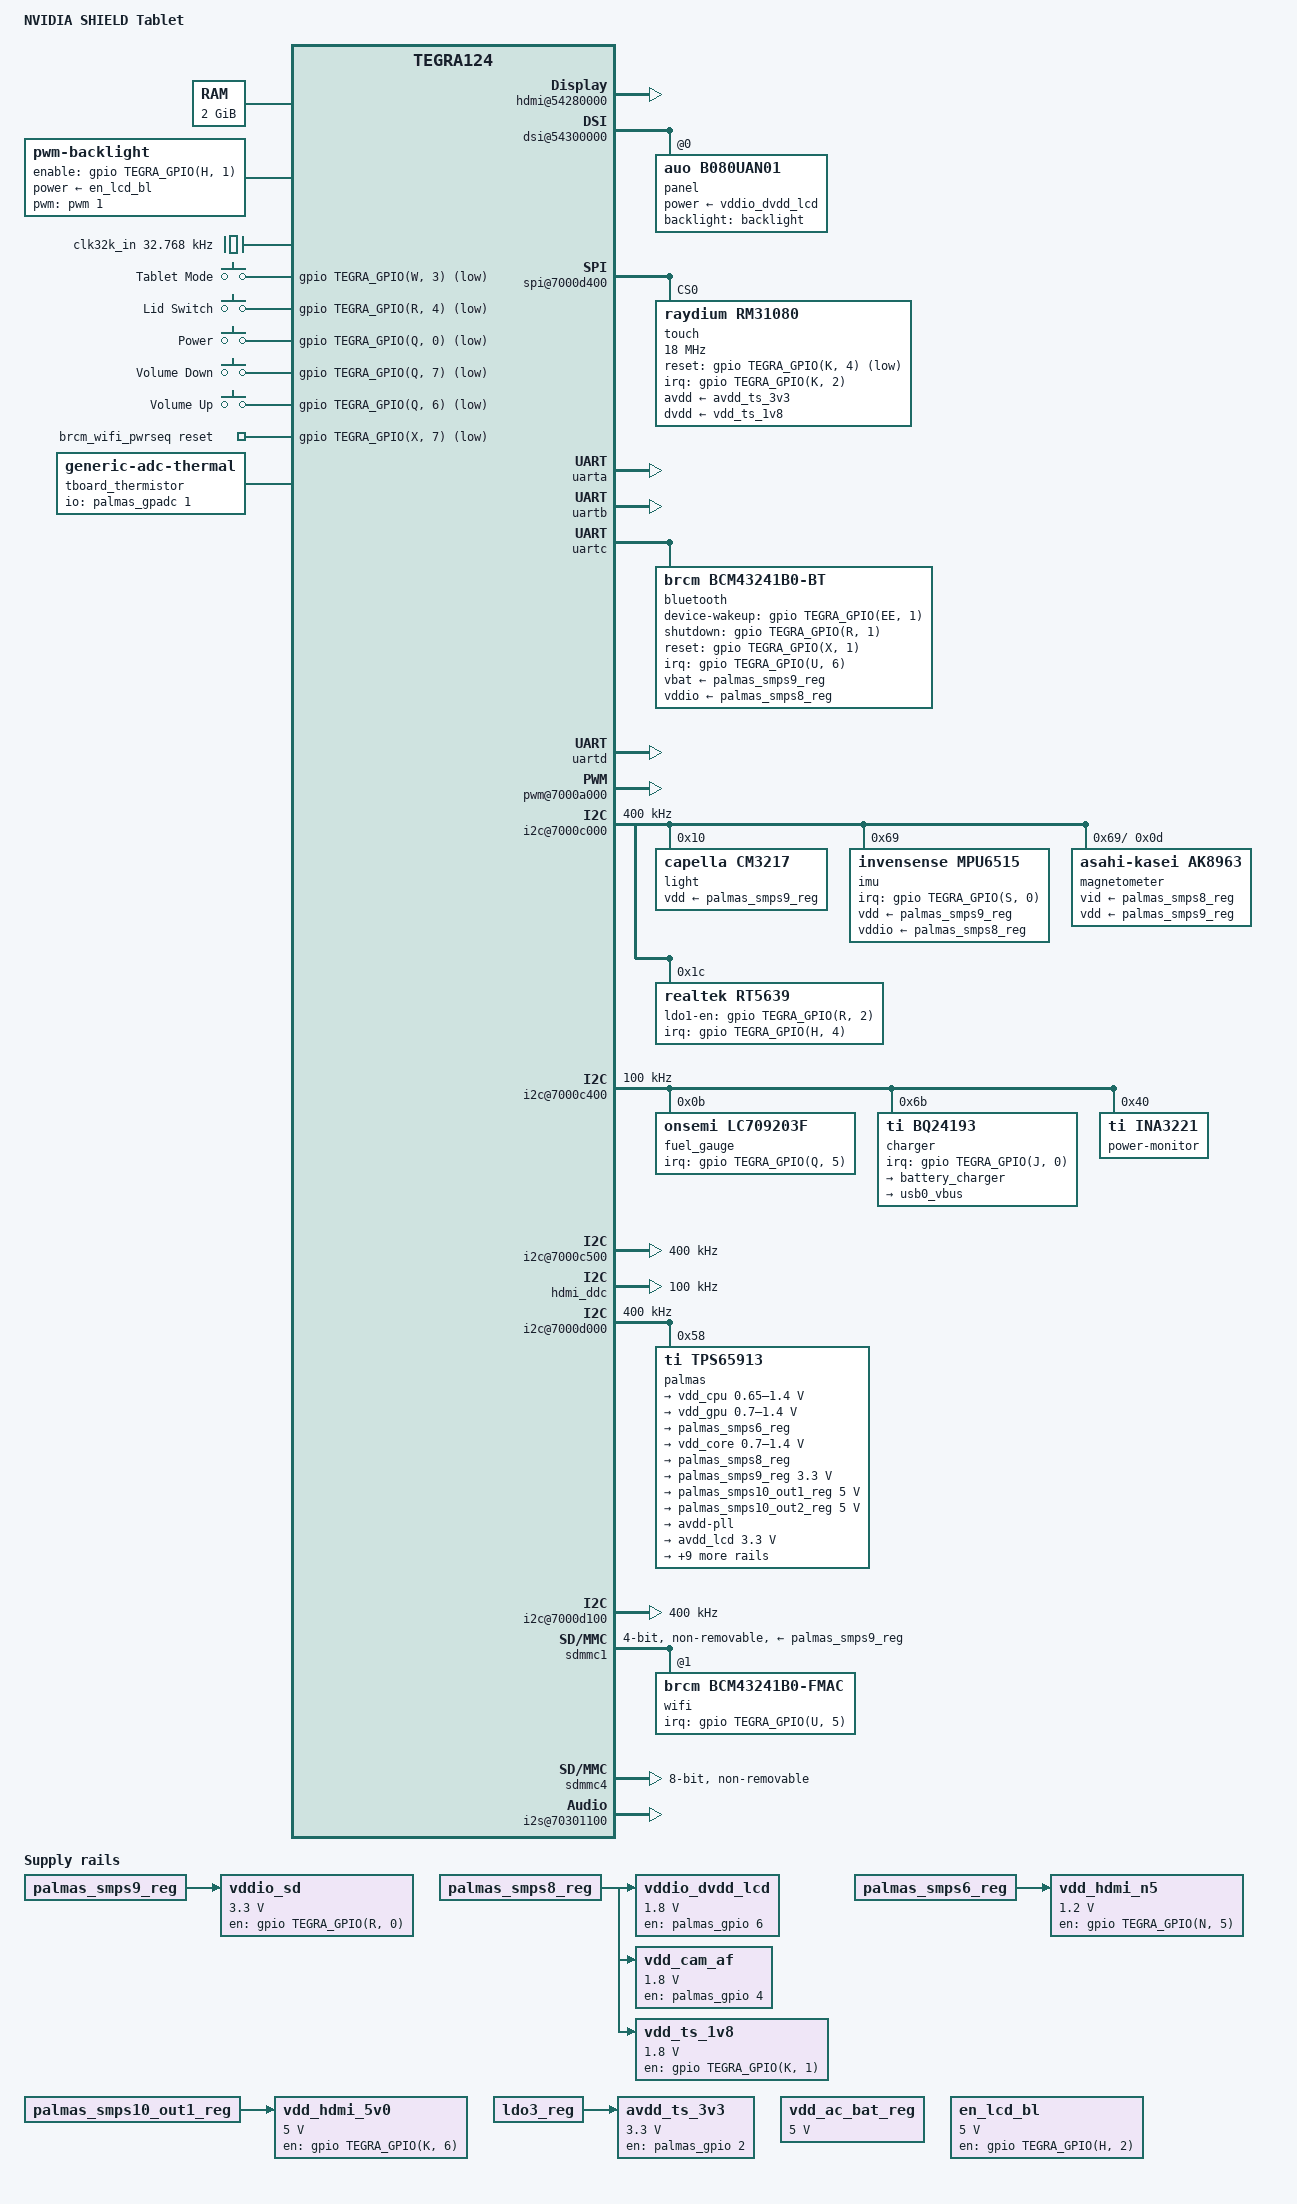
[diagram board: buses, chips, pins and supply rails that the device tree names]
// SPDX-License-Identifier: GPL-2.0
/dts-v1/;

#include <dt-bindings/input/input.h>
#include <dt-bindings/thermal/thermal.h>
#include <dt-bindings/sound/rt5640.h>

#include "tegra124.dtsi"
#include "tegra124-nvidia-shieldtablet-emc.dtsi"
#include "tegra124-nvidia-shieldtablet-pinmux.dtsi"

/ {
	model = "NVIDIA SHIELD Tablet";
	compatible = "nvidia,shieldtablet", "nvidia,tegra124";
	chassis-type = "tablet";

	aliases {
		mmc0 = &sdmmc4; /* eMMC */
		/* uSD to implement */
		mmc1 = &sdmmc1; /* WiFi */

		rtc0 = &palmas;
		rtc1 = "/rtc@0,7000e000";

		serial0 = &uartd; /* Console */
		serial1 = &uartc; /* Bluetooth */

		serial2 = &uarta;
		serial3 = &uartb; /* GPS ? */
	};

	chosen {
		stdout-path = "serial0:115200n8";
		bootargs = "panic=15 fbcon=rotate:3 gpt clk_ignore_unused root=/dev/mmcblk0p23 rw rootwait rootflags=defaults,noatime,nodiratime loop=media/0/Linux/linux.img loopflags=subvol=/pmos,compress=zstd:1,commit=120,discard=async,noatime,nodiratime";
	};

	memory@80000000 {
		reg = <0x0 0x80000000 0x0 0x80000000>;
	};

	/* UNFINISHED */
	backlight: backlight {
		compatible = "pwm-backlight"; // CONFIG_BACKLIGHT_PWM
		pwms = <&pwm 1 40000>;

		brightness-levels = <0 4 8 16 32 64 128 255>;
		default-brightness-level = <6>;

		power-supply = <&en_lcd_bl>;
		enable-gpios = <&gpio TEGRA_GPIO(H, 1) GPIO_ACTIVE_HIGH>;
	};

	host1x@50000000 {
		hdmi@54280000 {
			status = "okay";

			hdmi-supply = <&vdd_hdmi_5v0>;
			pll-supply = <&vdd_hdmi_n5>;
			vdd-supply = <&ldoln_reg>;

			nvidia,ddc-i2c-bus = <&hdmi_ddc>;
			nvidia,hpd-gpio = <&gpio TEGRA_GPIO(N, 7) GPIO_ACTIVE_HIGH>;
		};

		/* UNFINISHED */
		dsi@54300000 {
			status = "okay";

			avdd-dsi-csi-supply = <&ldo5_reg>;

			panel@0 {
				compatible = "auo,b080uan01"; // CONFIG_DRM_PANEL_SIMPLE
				reg = <0>;

				//avdd-supply = <&avdd_lcd>;
				power-supply = <&vddio_dvdd_lcd>;

				backlight = <&backlight>;
			};
		};
	};

	gpu@57000000 {
		status = "okay";
		vdd-supply = <&vdd_gpu>;
	};

	spi@7000d400 {
		status = "okay";

		#address-cells = <1>;
		#size-cells = <0>;

		touch@0 {
			compatible = "raydium,rm31080";
			reg = <0>;

			raydium,platform-id = <0x0B>;
			raydium,gpio-select = <0x00>;

			/*
			 * Replaces the old Xorg configuration.
			 */
			touchscreen-size-x = <1200>;
			touchscreen-size-y = <1920>;
			touchscreen-inverted-x;
			touchscreen-inverted-y;

			spi-max-frequency = <18000000>;
			nvidia,tx-clk-tap-delay = <16>;
			nvidia,rx-clk-tap-delay = <0>;

			interrupt-parent = <&gpio>;
			interrupts = <TEGRA_GPIO(K, 2) IRQ_TYPE_EDGE_RISING>;

			/*
			 * Downstream drives this pin low-then-high with the raw
			 * (non-gpiod, flag-ignoring) legacy GPIO API to reset the
			 * controller, i.e. low = held in reset, high = running.
			 * That is an active-low reset line.
			 */
			reset-gpios = <&gpio TEGRA_GPIO(K, 4) GPIO_ACTIVE_LOW>;

			clocks = <&tegra_car TEGRA124_CLK_EXTERN2>;
			clock-names = "extern2";
			assigned-clocks = <&tegra_car TEGRA124_CLK_EXTERN2>;
			assigned-clock-parents = <&tegra_car TEGRA124_CLK_PLL_P>;
			assigned-clock-rates = <40800000>;

			avdd-supply = <&avdd_ts_3v3>;
			dvdd-supply = <&vdd_ts_1v8>;
		};
	};

	// UNKNOWN
	uarta: serial@70006000 {
		status = "okay";
		compatible = "nvidia,tegra124-hsuart"; // CONFIG_SERIAL_TEGRA
	};

	/* Maybe the GPS ? */
	uartb: serial@70006040 {
		status = "okay";
		compatible = "nvidia,tegra124-hsuart"; // CONFIG_SERIAL_TEGRA
	};

	/* Bluetooth */
	uartc: serial@70006200 {
		compatible = "nvidia,tegra124-hsuart", "nvidia,tegra30-hsuart"; // CONFIG_SERIAL_TEGRA
		reset-names = "serial";
		/delete-property/ reg-shift;
		status = "okay";

		nvidia,adjust-baud-rates = <0 9600 100>,
					   <9600 115200 200>,
					   <1000000 4000000 136>;

		bluetooth {
			compatible = "brcm,bcm43241b0-bt", "brcm,bcm4334-bt"; // CONFIG_BT_HCIUART_BCM
			max-speed = <4000000>;

			clocks = <&tegra_pmc TEGRA_PMC_CLK_BLINK>;
			clock-names = "txco";

			interrupt-parent = <&gpio>;
			interrupts = <TEGRA_GPIO(U, 6) IRQ_TYPE_EDGE_RISING>;
			interrupt-names = "host-wakeup";

			device-wakeup-gpios = <&gpio TEGRA_GPIO(EE, 1) GPIO_ACTIVE_HIGH>;
			shutdown-gpios = <&gpio TEGRA_GPIO(R, 1) GPIO_ACTIVE_HIGH>;
			reset-gpios = <&gpio TEGRA_GPIO(X, 1) GPIO_ACTIVE_HIGH>;

			vbat-supply = <&palmas_smps9_reg>;
			vddio-supply = <&palmas_smps8_reg>;
		};
	};

	/* Console */
	uartd: serial@70006300 {
		status = "okay";
		compatible = "nvidia,tegra124-uart"; // CONFIG_SERIAL_8250_TEGRA
	};

	pwm@7000a000 {
		status = "okay";
	};

	i2c@7000c000 {
		status = "okay";
		clock-frequency = <400000>;

		// Couldn't get that to work with cm3232 or cm32181
		light@10 {
			compatible = "capella,cm3217";
			reg = <0x10>;
			vdd-supply = <&palmas_smps9_reg>;
		};

		imu@69 {
			compatible = "invensense,mpu6515"; // CONFIG_INV_MPU6050_I2C
			reg = <0x69>;

			interrupt-parent = <&gpio>;
			interrupts = <TEGRA_GPIO(S, 0) IRQ_TYPE_EDGE_RISING>;

			vdd-supply   = <&palmas_smps9_reg>;
			vddio-supply = <&palmas_smps8_reg>;
			mount-matrix = "-1", "0",  "0",
						"0",  "1",  "0",
						"0",  "0", "-1";

			i2c-gate {
				#address-cells = <1>;
				#size-cells = <0>;

				magnetometer@d {
					compatible = "asahi-kasei,ak8963"; // CONFIG_AK8975
					reg = <0x0d>;

					vid-supply = <&palmas_smps8_reg>;
					vdd-supply = <&palmas_smps9_reg>;

					mount-matrix = "-1", "0",  "0",
								"0",  "1",  "0",
								"0",  "0", "-1";
				};
			};
		};

		rt5639: audio-codec@1c {
			compatible = "realtek,rt5639"; // CONFIG_SND_SOC_TEGRA_RT5640
			reg = <0x1c>;

			interrupt-parent = <&gpio>;
			interrupts = <TEGRA_GPIO(H, 4) IRQ_TYPE_EDGE_FALLING>;

			realtek,dmic1-data-pin = <RT5640_DMIC1_DATA_PIN_IN1P>;
			realtek,ldo1-en-gpios = <&gpio TEGRA_GPIO(R, 2) GPIO_ACTIVE_HIGH>;
			realtek,jack-detect-source = <RT5640_JD_SRC_HDA_HEADER>;
		};
	};

	// UNFINISHED
	i2c@7000c400 {
		status = "okay";
		clock-frequency = <100000>;

		// max17048@36 mentioned in downstream DTS but disabled.

		fuel_gauge: fuel-gauge@0b {
			compatible = "onsemi,lc709203f"; // CONFIG_FUEL_GAUGE_LC709203F
			reg = <0x0b>;

			interrupt-parent = <&gpio>;
			interrupts = <TEGRA_GPIO(Q, 5) IRQ_TYPE_NONE>;

			// Add monitored-battery ?
			power-supplies = <&charger>;

			onsemi,thermistor-beta = <3435>;
			onsemi,alert-low-rsoc = <0>;
			onsemi,alert-low-voltage = <0>;
		};

		charger: charger@6b {
			compatible = "ti,bq24193", "ti,bq24192"; // CONFIG_CHARGER_BQ24190
			reg = <0x6b>;

			interrupt-parent = <&gpio>;
			interrupts = <TEGRA_GPIO(J, 0) GPIO_ACTIVE_LOW>;

			omit-battery-class;

			battery_charger: charger {
				regulator-name = "batt_regulator";
			};

			usb0_vbus: usb-otg-vbus {
				regulator-name = "vbus_regulator";
			};
		};

		power-monitor@40 {
			compatible = "ti,ina3221"; // CONFIG_SENSORS_INA3221
			reg = <0x40>;
			#address-cells = <1>;
			#size-cells = <0>;

			channel@0 {
				reg = <0x0>;
				label = "VDD_BAT";
				shunt-resistor-micro-ohms = <1000>;
			};

			channel@1 {
				reg = <0x1>;
				label = "VDD_USB_5V0";
				shunt-resistor-micro-ohms = <10000>;
			};

			channel@2 {
				reg = <0x2>;
				label = "VDD_SYS_MDM";
				shunt-resistor-micro-ohms = <1000>;
			};
		};
	};

	i2c@7000c500 {
		status = "okay";
		clock-frequency = <400000>;
	};

	/* HDMI DDC */
	hdmi_ddc: i2c@7000c700 {
		status = "okay";
		clock-frequency = <100000>;
	};

	i2c@7000d000 {
		status = "okay";
		clock-frequency = <400000>;

		palmas: pmic@58 {
			compatible = "ti,tps65913", "ti,palmas"; // CONFIG_PINCTRL_PALMAS
			reg = <0x58>;
			interrupts = <GIC_SPI 86 IRQ_TYPE_LEVEL_HIGH>;

			#interrupt-cells = <2>;
			interrupt-controller;

			ti,system-power-controller;

			palmas_gpadc: adc {
				compatible = "ti,palmas-gpadc"; // CONFIG_PALMAS_GPADC
				interrupts = <18 IRQ_TYPE_NONE
						  16 IRQ_TYPE_NONE
						  17 IRQ_TYPE_NONE>;

				ti,channel0-current-microamp = <5>;
				ti,channel3-current-microamp = <400>;
				ti,enable-extended-delay;

				#io-channel-cells = <1>;
			};

			palmas_extcon: extcon {
				compatible = "ti,palmas-usb-vid"; // CONFIG_EXTCON_PALMAS

				ti,enable-vbus-detection;
				ti,enable-id-detection;

				ti,wakeup;
			};

			palmas_gpio: gpio {
				compatible = "ti,palmas-gpio"; // CONFIG_GPIO_PALMAS
				gpio-controller;
				#gpio-cells = <2>;
			};

			clk32kg_pmic: palmas-clk32k@0 {
				compatible = "ti,palmas-clk32kg"; // CONFIG_COMMON_CLK_PALMAS
				#clock-cells = <0>;
			};

			palmas_clk32k@1 {
				compatible = "ti,palmas-clk32kgaudio"; // CONFIG_COMMON_CLK_PALMAS
				#clock-cells = <0>;
			};

			pinmux {
				compatible = "ti,tps65913-pinctrl"; // CONFIG_PINCTRL_PALMAS

				pinctrl-names = "default";
				pinctrl-0 = <&palmas_default>;

				palmas_default: pinmux {
					powergood {
						pins = "powergood";
						function = "powergood";
					};

					vac {
						pins = "vac";
						function = "vac";
					};

					pin_gpio0 {
						pins = "gpio0";
						function = "id";
						bias-pull-up;
					};

					pin_gpio1 {
						pins = "gpio1";
						function = "gpio";
						bias-disable;
					};

					pin_gpio6 {
						pins = "gpio2", "gpio3", "gpio4", "gpio6", "gpio7";
						function = "gpio";
					};

					pin_gpio5 {
						pins = "gpio5";
						function = "clk32kgaudio";
					};
				};
			};

			pmic {
				compatible = "ti,tps65913-pmic", "ti,palmas-pmic"; // CONFIG_REGULATOR_PALMAS

				ldo1-in-supply = <&palmas_smps6_reg>;
				ldo5-in-supply = <&palmas_smps8_reg>;
				ldo9-in-supply = <&palmas_smps9_reg>;
				ldoln-in-supply = <&palmas_smps10_out2_reg>;
				ldousb-in-supply = <&palmas_smps10_out2_reg>;

				regulators {
					/* CPU core voltage (SMPS123, 0.65–1.4V) */
					vdd_cpu: smps123 {
						regulator-name = "vdd-cpu";
						regulator-min-microvolt = <650000>;
						regulator-max-microvolt = <1400000>;
						regulator-always-on;
						regulator-boot-on;
					};

					/* GPU core voltage (SMPS45, 0.7–1.4V) */
					vdd_gpu: smps45 {
						regulator-name = "vdd-gpu";
						regulator-min-microvolt = <700000>;
						regulator-max-microvolt = <1400000>;
						regulator-init-microvolt = <1000000>;
						regulator-always-on; // --- Could be necessary
						//regulator-boot-on;
					};

					/* DDR voltage (SMPS6, fixed 1.35V) */
					palmas_smps6_reg: smps6 {
						regulator-name = "vddio-ddr";
						// regulator-min-microvolt = <1350000>;
						// regulator-max-microvolt = <1350000>;
						regulator-always-on;
						regulator-boot-on;
					};

					/* SoC core voltage (SMPS7, 0.7–1.4V) */
					vdd_core: smps7 {
						regulator-name = "vdd-core";
						regulator-min-microvolt = <700000>;
						regulator-max-microvolt = <1400000>;
						regulator-always-on;
						regulator-boot-on;
					};

					/* 1.8V I/O rail (SMPS8) */
					palmas_smps8_reg: smps8 {
						regulator-name = "vdd-1v8";
						//regulator-min-microvolt = <1800000>;
						//regulator-max-microvolt = <1800000>;
						regulator-always-on;
						regulator-boot-on;
					};

					/* 3.3V sensor / SDMMC3 rail (SMPS9) */
					palmas_smps9_reg: smps9 {
						regulator-name = "vdd-snsr";
						regulator-min-microvolt = <3300000>;
						regulator-max-microvolt = <3300000>;
						regulator-always-on;
						regulator-boot-on;
					};

					/* 5V output 1 (SMPS10_OUT1) */
					palmas_smps10_out1_reg: smps10_out1 {
						regulator-name = "vdd-out1-5v0";
						regulator-min-microvolt = <5000000>;
						regulator-max-microvolt = <5000000>;
					};

					/* 5V output 2 (SMPS10_OUT2) */
					palmas_smps10_out2_reg: smps10_out2 {
						regulator-name = "vdd-out2-5v0";
						regulator-min-microvolt = <5000000>;
						regulator-max-microvolt = <5000000>;
					};

					/* PLL supply (LDO1, 1.05V) */
					ldo1 {
						regulator-name = "avdd-pll";
						//regulator-min-microvolt = <1050000>;
						//regulator-max-microvolt = <1050000>;
						regulator-always-on;
						regulator-boot-on;
					};

					/* LCD AVDD / touch analogue (LDO2, 3.3V) */
					avdd_lcd: ldo2 {
						regulator-name = "avdd-lcd";
						regulator-min-microvolt = <3300000>;
						regulator-max-microvolt = <3300000>;
						regulator-boot-on;
						regulator-always-on; // TEMPORARY
					};

					/* Touch supply (LDO3, 3.0V) */
					ldo3_reg: ldo3 {
						regulator-name = "vdd-touch";
						regulator-min-microvolt = <3300000>;
						regulator-max-microvolt = <3300000>;
						regulator-enable-ramp-delay = <3000>;
						ti,disable-pull-down;
					};

					/* Camera AVDD (LDO4, 2.7V) */
					ldo4 {
						regulator-name = "avdd-cam1";
						regulator-min-microvolt = <2700000>;
						regulator-max-microvolt = <2700000>;
					};

					/* DSI/CSI supply (LDO5, 1.2V) */
					ldo5_reg: ldo5 {
						regulator-name = "avdd-dsi-csi";
						//regulator-min-microvolt = <1200000>;
						//regulator-max-microvolt = <1200000>;
						regulator-always-on; // TEMPORARY
						regulator-boot-on; // TEMPORARY
					};

					/* Fuse blow (LDO6, 1.8V) */
					ldo6 {
						regulator-name = "vpp-fuse";
						regulator-min-microvolt = <1800000>;
						regulator-max-microvolt = <1800000>;
					};

					/* Camera AF VCM (LDO7, 2.7V) */
					ldo7 {
						regulator-name = "avdd-cam-af";
						regulator-min-microvolt = <2700000>;
						regulator-max-microvolt = <2700000>;
					};

					/* RTC supply (LDO8, 0.95V) */
					ldo8 {
						regulator-name = "vdd-rtc";
						regulator-min-microvolt = <950000>;
						regulator-max-microvolt = <950000>;
						regulator-always-on;
						regulator-boot-on;
						ti,enable-ldo8-tracking;
					};

					/* LDO9: variable 1.8/3.3 V for microSD I/O */
					ldo9 {
						regulator-name = "vddio-sdmmc-2";
						regulator-min-microvolt = <1800000>;
						regulator-max-microvolt = <3300000>;
					};

					/* LDOLN – HDMI / HV I/O supply */
					ldoln_reg: ldoln {
						regulator-name = "vddio-hv";
						// regulator-min-microvolt = <3300000>;
						// regulator-max-microvolt = <3300000>;
						regulator-always-on;
						regulator-boot-on;
					};

					/* LDOUSB – USB PHY AVDD 3.3 V */
					ldousb_reg: ldousb {
						regulator-name = "avdd-usb";
						// regulator-min-microvolt = <3300000>;
						// regulator-max-microvolt = <3300000>;
						regulator-always-on;
						regulator-boot-on;
					};
				};
			};

			rtc {
				compatible = "ti,palmas-rtc"; // CONFIG_RTC_DRV_PALMAS
				interrupt-parent = <&palmas>;
				interrupts = <8 0>;
			};
		};
	};

	i2c@7000d100 {
		status = "okay";
		clock-frequency = <400000>;
	};

	pmc@7000e400 {
		// nvidia,invert-interrupt; --- Downstream uses it, but mainline gets crashed ?

		/* --- VERIFY THE VALUES --- */
		nvidia,suspend-mode = <1>;
		nvidia,cpu-pwr-good-time = <500>;
		nvidia,cpu-pwr-off-time = <300>;
		nvidia,core-pwr-good-time = <3845 3845>;
		nvidia,core-pwr-off-time = <2000>;
		nvidia,core-power-req-active-high;
		nvidia,sys-clock-req-active-high;
		core-supply = <&vdd_core>;

		/* Clear DEV_ON bit in DEV_CTRL register of TPS65913 PMIC  */
		i2c-thermtrip {
			nvidia,i2c-controller-id = <4>;
			nvidia,bus-addr = <0x58>;
			nvidia,reg-addr = <0xA0>;
			nvidia,reg-data = <0x00>;
		};
	};

	/* Wi-Fi */
	sdmmc1: mmc@700b0000 {
		status = "okay";

		#address-cells = <1>;
		#size-cells = <0>;

		keep-power-in-suspend;
		bus-width = <4>;
		non-removable;

		mmc-pwrseq = <&brcm_wifi_pwrseq>;
		vmmc-supply = <&palmas_smps9_reg>;
		vqmmc-supply = <&palmas_smps8_reg>;

		wifi@1 {
			compatible = "brcm,bcm43241b0-fmac", "brcm,bcm4329-fmac"; // CONFIG_BRCMFMAC_SDIO
			reg = <1>;

			interrupt-parent = <&gpio>;
			interrupts = <TEGRA_GPIO(U, 5) IRQ_TYPE_LEVEL_HIGH>;
			interrupt-names = "host-wake";
		};
	};

	/* uSD to be implemented */

	/* eMMC */
	/* UNFINISHED */
	sdmmc4: mmc@700b0600 {
		status = "okay";
		bus-width = <8>;
		non-removable;
	};

	/* CPU DFLL clock */
	clock@70110000 {
		status = "okay";
		nvidia,i2c-fs-rate = <400000>;
		vdd-cpu-supply = <&vdd_cpu>;
	};
	
	/* Audio Hub */
	ahub@70300000 {
		i2s@70301100 {
			status = "okay";
		};
	};

	clk32k_in: clock-32k {
		compatible = "fixed-clock"; // CONFIG_COMMON_CLK
		#clock-cells = <0>;
		clock-frequency = <32768>;
		clock-output-names = "ref-oscillator";
	};

	extcon-keys {
		compatible = "gpio-keys"; // CONFIG_KEYBOARD_GPIO

		/*
		 * Note : Can't be tested on SHIELD Tablet K1.
		 * It's linked to stylus pen detection.
		 */
		sw-tablet-mode {
			label = "Tablet Mode";
			gpios = <&gpio TEGRA_GPIO(W, 3) GPIO_ACTIVE_LOW>;
			linux,code = <SW_TABLET_MODE>;
			linux,input-type = <EV_SW>;
			wakeup-source;
		};

		sw-lid {
			label = "Lid Switch";
			gpios = <&gpio TEGRA_GPIO(R, 4) GPIO_ACTIVE_LOW>;
			linux,code = <SW_LID>;
			linux,input-type = <EV_SW>;
			wakeup-source;
			debounce-interval = <300>;
		};
	};

	gpio-keys {
		compatible = "gpio-keys"; // CONFIG_KEYBOARD_GPIO

		key-power {
			label = "Power";
			gpios = <&gpio TEGRA_GPIO(Q, 0) GPIO_ACTIVE_LOW>;
			linux,code = <KEY_POWER>;
			debounce-interval = <10>;
			wakeup-source;
		};

		key-volume-down {
			label = "Volume Down";
			gpios = <&gpio TEGRA_GPIO(Q, 7) GPIO_ACTIVE_LOW>;
			linux,code = <KEY_VOLUMEDOWN>;
			debounce-interval = <10>;
		};

		key-volume-up {
			label = "Volume Up";
			gpios = <&gpio TEGRA_GPIO(Q, 6) GPIO_ACTIVE_LOW>;
			linux,code = <KEY_VOLUMEUP>;
			debounce-interval = <10>;
		};
	};

	cec@70015000 {
		status = "okay";
	};

	hda@70030000 {
		status = "okay";
	};

	brcm_wifi_pwrseq: pwrseq-wifi {
		compatible = "mmc-pwrseq-simple"; // CONFIG_PWRSEQ_SIMPLE

		clocks = <&tegra_pmc TEGRA_PMC_CLK_BLINK>;
		clock-names = "ext_clock";

		reset-gpios = <&gpio TEGRA_GPIO(X, 7) GPIO_ACTIVE_LOW>;
		post-power-on-delay-ms = <300>;
		power-off-delay-us = <300>;
	};

	// --- Regulators ---

	vdd_ac_bat_reg: regulator-acbat {
		compatible = "regulator-fixed"; // CONFIG_REGULATOR_FIXED_VOLTAGE
		regulator-name = "vdd_ac_bat";
		regulator-min-microvolt = <5000000>;
		regulator-max-microvolt = <5000000>;
		regulator-always-on;
	};
	en_lcd_bl: regulator-lcden {
		compatible = "regulator-fixed"; // CONFIG_REGULATOR_FIXED_VOLTAGE
		regulator-name = "en-lcd-bl";
		regulator-min-microvolt = <5000000>;
		regulator-max-microvolt = <5000000>;
		regulator-boot-on;
		gpio = <&gpio TEGRA_GPIO(H, 2) GPIO_ACTIVE_HIGH>;
		enable-active-high;
	};
	vddio_sd: regulator-sdmmc3 {
		compatible = "regulator-fixed"; // CONFIG_REGULATOR_FIXED_VOLTAGE
		regulator-name = "vddio_sd";
		regulator-min-microvolt = <3300000>;
		regulator-max-microvolt = <3300000>;
		gpio = <&gpio TEGRA_GPIO(R, 0) GPIO_ACTIVE_HIGH>;
		enable-active-high;
		vin-supply = <&palmas_smps9_reg>;
	};
	vddio_dvdd_lcd: regulator-lcd {
		compatible = "regulator-fixed"; // CONFIG_REGULATOR_FIXED_VOLTAGE
		regulator-name = "vddio_dvdd_lcd";
		regulator-min-microvolt = <1800000>;
		regulator-max-microvolt = <1800000>;
		gpio = <&palmas_gpio 6 GPIO_ACTIVE_HIGH>;
		enable-active-high;
		vin-supply = <&palmas_smps8_reg>;
	};
	vdd_cam_af: regulator-cam {
		compatible = "regulator-fixed"; // CONFIG_REGULATOR_FIXED_VOLTAGE
		regulator-name = "vdd_cam_af";
		regulator-min-microvolt = <1800000>;
		regulator-max-microvolt = <1800000>;
		gpio = <&palmas_gpio 4 GPIO_ACTIVE_HIGH>;
		enable-active-high;
		vin-supply = <&palmas_smps8_reg>;
	};
	vdd_hdmi_n5: regulator-hdmi {
		compatible = "regulator-fixed"; // CONFIG_REGULATOR_FIXED_VOLTAGE
		regulator-name = "vdd-hdmi-n5";
		regulator-min-microvolt = <1200000>;
		regulator-max-microvolt = <1200000>;
		enable-active-high;
		gpio = <&gpio TEGRA_GPIO(N, 5) GPIO_ACTIVE_HIGH>;
		vin-supply = <&palmas_smps6_reg>;
	};
	vdd_hdmi_5v0: regulator-hdmicon {
		compatible = "regulator-fixed"; // CONFIG_REGULATOR_FIXED_VOLTAGE
		regulator-name = "vdd_hdmi_5v0";
		regulator-min-microvolt = <5000000>;
		regulator-max-microvolt = <5000000>;
		gpio = <&gpio TEGRA_GPIO(K, 6) GPIO_ACTIVE_HIGH>;
		enable-active-high;
		vin-supply = <&palmas_smps10_out1_reg>;
	};
	vdd_ts_1v8: regulator-ts-1v8 {
		compatible = "regulator-fixed"; // CONFIG_REGULATOR_FIXED_VOLTAGE
		regulator-name = "vdd_ts_1v8";
		regulator-min-microvolt = <1800000>;
		regulator-max-microvolt = <1800000>;
		gpio = <&gpio TEGRA_GPIO(K, 1) GPIO_ACTIVE_HIGH>;
		enable-active-high;
		vin-supply = <&palmas_smps8_reg>;
	};
	avdd_ts_3v3: regulator-ts-3v3 {
		compatible = "regulator-fixed"; // CONFIG_REGULATOR_FIXED_VOLTAGE
		regulator-name = "avdd_ts_3v3";
		regulator-min-microvolt = <3300000>;
		regulator-max-microvolt = <3300000>;
		gpio = <&palmas_gpio 2 GPIO_ACTIVE_HIGH>;
		enable-active-high;
		vin-supply = <&ldo3_reg>; // downstream runtime reports it's backed by ldo3_reg/vdd-touch, downstream DTS says it's ldousb/avdd-usb ?
	};

	sound {
		compatible = "nvidia,tegra-audio-rt5640-tn8", "nvidia,tegra-audio-rt5640"; // CONFIG_SND_SOC_TEGRA_RT5640
		nvidia,model = "NVIDIA SHIELD Tablet RT5639";

		nvidia,audio-routing =
			"Headphones", "HPOR",
			"Headphones", "HPOL",
			"Speakers", "SPORP",
			"Speakers", "SPORN",
			"Speakers", "SPOLP",
			"Speakers", "SPOLN",
			"Mic Jack", "MICBIAS1",
			"DMIC L1", "Int Mic",
			"DMIC L2", "Int Mic",
			"DMIC R1", "Int Mic",
			"DMIC R2", "Int Mic",
			"IN2P", "Mic Jack",
			"IN2N", "Mic Jack";

		nvidia,i2s-controller = <&tegra_i2s1>;
		nvidia,audio-codec = <&rt5639>;

		clocks = <&tegra_car TEGRA124_CLK_PLL_A>, <&tegra_car TEGRA124_CLK_PLL_A_OUT0>, <&tegra_pmc TEGRA_PMC_CLK_OUT_1>;
		clock-names = "pll_a", "pll_a_out0", "mclk";

		assigned-clocks = <&tegra_car TEGRA124_CLK_EXTERN1>, <&tegra_pmc TEGRA_PMC_CLK_OUT_1>;
		assigned-clock-parents = <&tegra_car TEGRA124_CLK_PLL_A_OUT0>, <&tegra_car TEGRA124_CLK_EXTERN1>;
	};

	// --- Thermal ---

	/*
	 * Downstream has Tdiode (which we can't implement) and mentions Battery... but
	 * actually disables it and goes with the fuel gauge's thermistor instead.
	 */

	/* Note : Downstream uses this one *essentially* as the skin sensor I believe... */
	tboard_thermistor: thermal-sensor-board {
		compatible = "generic-adc-thermal"; // CONFIG_GENERIC_ADC_THERMAL
		#thermal-sensor-cells = <0>;

		io-channels = <&palmas_gpadc 1>;
		io-channel-names = "sensor-channel";

		temperature-lookup-table = <
			 (-40000)  2578   (-39000)  2577   (-38000)  2576   (-37000)  2575
			 (-36000)  2574   (-35000)  2573   (-34000)  2572   (-33000)  2571
			 (-32000)  2569   (-31000)  2568   (-30000)  2567   (-29000)  2565
			 (-28000)  2563   (-27000)  2561   (-26000)  2559   (-25000)  2557
			 (-24000)  2555   (-23000)  2553   (-22000)  2550   (-21000)  2548
			 (-20000)  2545   (-19000)  2542   (-18000)  2539   (-17000)  2536
			 (-16000)  2532   (-15000)  2529   (-14000)  2525   (-13000)  2521
			 (-12000)  2517   (-11000)  2512   (-10000)  2507    (-9000)  2502
			  (-8000)  2497    (-7000)  2492    (-6000)  2486    (-5000)  2480
			  (-4000)  2473    (-3000)  2467    (-2000)  2460    (-1000)  2452
			        0  2445       1000  2437       2000  2428       3000  2419
			     4000  2410       5000  2401       6000  2391       7000  2380
			     8000  2369       9000  2358      10000  2346      11000  2334
			    12000  2322      13000  2308      14000  2295      15000  2281
			    16000  2266      17000  2251      18000  2236      19000  2219
			    20000  2203      21000  2186      22000  2168      23000  2150
			    24000  2131      25000  2112      26000  2092      27000  2072
			    28000  2052      29000  2030      30000  2009      31000  1987
			    32000  1964      33000  1941      34000  1918      35000  1894
			    36000  1870      37000  1845      38000  1820      39000  1795
			    40000  1769      41000  1743      42000  1717      43000  1691
			    44000  1664      45000  1637      46000  1610      47000  1583
			    48000  1555      49000  1528      50000  1500      51000  1472
			    52000  1445      53000  1417      54000  1390      55000  1362
			    56000  1334      57000  1307      58000  1280      59000  1253
			    60000  1226      61000  1199      62000  1172      63000  1146
			    64000  1120      65000  1094      66000  1069      67000  1044
			    68000  1019      69000   994      70000   970      71000   946
			    72000   922      73000   899      74000   877      75000   854
			    76000   832      77000   811      78000   789      79000   769
			    80000   748      81000   729      82000   709      83000   690
			    84000   671      85000   653      86000   635      87000   618
			    88000   601      89000   584      90000   568      91000   552
			    92000   537      93000   522      94000   507      95000   493
			    96000   479      97000   465      98000   452      99000   439
			   100000   427     101000   415     102000   403     103000   391
			   104000   380     105000   369     106000   359     107000   349
			   108000   339     109000   329     110000   320     111000   310
			   112000   302     113000   293     114000   285     115000   277
			   116000   269     117000   261     118000   254     119000   247
			   120000   240     121000   233     122000   226     123000   220
			   124000   214     125000   208
		>;
	};

	/* Thus, I copied the mocha's values. */
	thermal-zones {
		board-thermal {
			polling-delay-passive = <1000>; /* milliseconds */
			polling-delay = <10000>; /* milliseconds */

			thermal-sensors = <&tboard_thermistor>;

			trips {
				board_alert_trip: board-alert {
					/* throttle at 50C until temperature drops to 49.5C */
					temperature = <50000>; // downstream uses 40000
					hysteresis = <500>; // and 1000
					type = "passive";
				};

				/* Downstream doesn't have this one, but no reason not to include it */
				board-crit {
					/* shut down at 85C */
					temperature = <85000>;
					hysteresis = <2000>;
					type = "critical";
				};
			};

			cooling-maps {
				map-board {
					trip = <&board_alert_trip>;
					cooling-device = <&cpu0 THERMAL_NO_LIMIT THERMAL_NO_LIMIT>,
							 <&cpu1 THERMAL_NO_LIMIT THERMAL_NO_LIMIT>,
							 <&cpu2 THERMAL_NO_LIMIT THERMAL_NO_LIMIT>,
							 <&cpu3 THERMAL_NO_LIMIT THERMAL_NO_LIMIT>;
				};
			};
		};
	};
};
